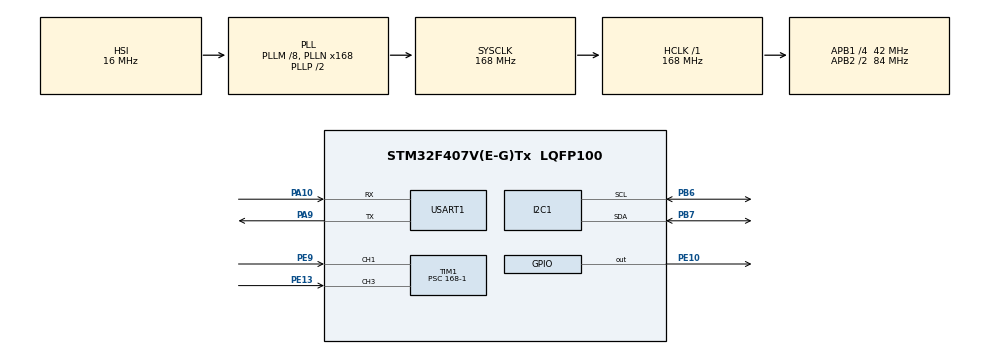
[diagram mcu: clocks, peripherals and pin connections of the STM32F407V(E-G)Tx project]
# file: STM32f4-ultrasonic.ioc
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Mcu.Family=STM32F4
Mcu.Name=STM32F407V(E-G)Tx
Mcu.Package=LQFP100
NVIC.PriorityGroup=NVIC_PRIORITYGROUP_4
NVIC.TIM1_CC_IRQn=true\:0\:0\:false\:false\:true\:true\:true
PA10.Mode=Asynchronous
PA10.Signal=USART1_RX
PA13.Mode=Serial_Wire
PA13.Signal=SYS_JTMS-SWDIO
PA14.Mode=Serial_Wire
PA14.Signal=SYS_JTCK-SWCLK
PA9.Mode=Asynchronous
PA9.Signal=USART1_TX
PB6.Mode=I2C
PB6.Signal=I2C1_SCL
PB7.Mode=I2C
PB7.Signal=I2C1_SDA
PC14-OSC32_IN.Mode=LSE-External-Oscillator
PC14-OSC32_IN.Signal=RCC_OSC32_IN
PC15-OSC32_OUT.Mode=LSE-External-Oscillator
PC15-OSC32_OUT.Signal=RCC_OSC32_OUT
PE10.Signal=GPIO_Output
PE13.Signal=S_TIM1_CH3
PE9.Signal=S_TIM1_CH1
PH0-OSC_IN.Mode=HSE-External-Oscillator
PH0-OSC_IN.Signal=RCC_OSC_IN
PH1-OSC_OUT.Mode=HSE-External-Oscillator
PH1-OSC_OUT.Signal=RCC_OSC_OUT
ProjectManager.HeapSize=0x200
ProjectManager.StackSize=0x400
ProjectManager.TargetToolchain=STM32CubeIDE
RCC.48MHZClocksFreq_Value=84000000
RCC.AHBFreq_Value=168000000
RCC.APB1CLKDivider=RCC_HCLK_DIV4
RCC.APB1Freq_Value=42000000
RCC.APB1TimFreq_Value=84000000
RCC.APB2CLKDivider=RCC_HCLK_DIV2
RCC.APB2Freq_Value=84000000
RCC.APB2TimFreq_Value=168000000
RCC.CortexFreq_Value=168000000
RCC.HCLKFreq_Value=168000000
RCC.HSE_VALUE=8000000
RCC.HSI_VALUE=16000000
RCC.PLLM=8
RCC.PLLN=168
RCC.SYSCLKFreq_VALUE=168000000
RCC.SYSCLKSource=RCC_SYSCLKSOURCE_PLLCLK
RCC.VCOOutputFreq_Value=336000000
SH.S_TIM1_CH1.0=TIM1_CH1,Input_Capture1_from_TI1
SH.S_TIM1_CH1.1=TIM1_CH1,Input_Capture2_from_TI1
SH.S_TIM1_CH3.0=TIM1_CH3,Input_Capture3_from_TI3
SH.S_TIM1_CH3.1=TIM1_CH3,Input_Capture4_from_TI3
TIM1.Channel-Input_Capture1_from_TI1=TIM_CHANNEL_1
TIM1.Channel-Input_Capture2_from_TI1=TIM_CHANNEL_2
TIM1.Channel-Input_Capture3_from_TI3=TIM_CHANNEL_3
TIM1.Channel-Input_Capture4_from_TI3=TIM_CHANNEL_4
TIM1.ICPolarity_CH2=TIM_INPUTCHANNELPOLARITY_FALLING
TIM1.Period=0xffff
TIM1.Prescaler=168-1
USART1.VirtualMode=VM_ASYNC
board=custom

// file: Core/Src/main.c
/* USER CODE BEGIN Header */
/**
  ******************************************************************************
  * @file           : main.c
  * @brief          : Main program body
  ******************************************************************************
  * @attention
  *
  * <h2><center>&copy; Copyright (c) 2021 STMicroelectronics.
  * All rights reserved.</center></h2>
  *
  * This software component is licensed by ST under BSD 3-Clause license,
  * the "License"; You may not use this file except in compliance with the
  * License. You may obtain a copy of the License at:
  *                        opensource.org/licenses/BSD-3-Clause
  *
  ******************************************************************************
  */
/* USER CODE END Header */

#include "main.h"

/* USER CODE BEGIN Includes */
#include <stdio.h>
/* USER CODE END Includes */

I2C_HandleTypeDef hi2c1;

TIM_HandleTypeDef htim1;

UART_HandleTypeDef huart1;

void SystemClock_Config(void);
static void MX_GPIO_Init(void);
static void MX_TIM1_Init(void);
static void MX_I2C1_Init(void);
static void MX_USART1_UART_Init(void);

/* USER CODE BEGIN 0 */
void delay (uint16_t time)
{
	__HAL_TIM_SET_COUNTER(&htim1, 0);
	while (__HAL_TIM_GET_COUNTER (&htim1) < time);
}

uint32_t Val1 = 0, Val2 = 0, Difference1 = 0;
uint32_t val3 = 0, val4 = 0, Difference2 = 0;
uint16_t strSize = 0;
uint8_t Is_First_Captured = 0, Distance1  = 0, Distance2 = 0, buffer[200];

#define TRIG_PIN GPIO_PIN_10
#define TRIG_PORT GPIOE

void HAL_TIM_IC_CaptureCallback(TIM_HandleTypeDef *htim)
{
	if (htim->Channel == HAL_TIM_ACTIVE_CHANNEL_1)
	{
		Val1 = __HAL_TIM_GET_COMPARE(htim, TIM_CHANNEL_1);
	}

	if(htim->Channel == HAL_TIM_ACTIVE_CHANNEL_2){
		Val2 = __HAL_TIM_GET_COMPARE(htim, TIM_CHANNEL_2);
	}

	if(htim->Channel == HAL_TIM_ACTIVE_CHANNEL_3){
		val3 = __HAL_TIM_GET_COMPARE(htim, TIM_CHANNEL_3);
	}

	if(htim->Channel == HAL_TIM_ACTIVE_CHANNEL_4){
		val4 = __HAL_TIM_GET_COMPARE(htim, TIM_CHANNEL_4);
	}
	if(Val2 > Val1){
		Difference1 = Val2 - Val1;
		Val2 = 0;
		Val1 = 0;
		Distance1 = Difference1 * .034/2;
	} else if(val4 > val3){
		Difference2 = val4 - val3;
		val3 = 0;
		val4 = 0;
		Distance2 = Difference2 * .034/2;
	}
}

void HCSR04_Read (void)
{
	HAL_GPIO_WritePin(TRIG_PORT, TRIG_PIN, GPIO_PIN_SET);
	delay(10);
	HAL_GPIO_WritePin(TRIG_PORT, TRIG_PIN, GPIO_PIN_RESET);
}
/* USER CODE END 0 */

int main(void)
{

  /* MCU Configuration--------------------------------------------------------*/

  /* Reset of all peripherals, Initializes the Flash interface and the Systick. */
  HAL_Init();

  /* Configure the system clock */
  SystemClock_Config();

  /* Initialize all configured peripherals */
  MX_GPIO_Init();
  MX_TIM1_Init();
  MX_I2C1_Init();
  MX_USART1_UART_Init();
  /* USER CODE BEGIN 2 */
  HAL_TIM_IC_Start_IT(&htim1, TIM_CHANNEL_1);
  HAL_TIM_IC_Start_IT(&htim1, TIM_CHANNEL_2);
  HAL_TIM_IC_Start_IT(&htim1, TIM_CHANNEL_3);
  HAL_TIM_IC_Start_IT(&htim1, TIM_CHANNEL_4);
  /* USER CODE END 2 */

  /* Infinite loop */
  while (1)
  {

    /* USER CODE BEGIN 3 */
	  strSize = sprintf((char*)buffer, "BISSMILLAH ULTRASONIC\r\n");
	  HAL_UART_Transmit_IT(&huart1, buffer, strSize);
	  HCSR04_Read();
	  strSize = sprintf((char*)buffer, "Distance1: %f || Distance2: %f\r\n", (float)Distance1, (float)Distance2);
	  HAL_UART_Transmit_IT(&huart1, buffer, strSize);
	  HAL_Delay(200);
  }
  /* USER CODE END 3 */
}

void SystemClock_Config(void)
{
  RCC_OscInitTypeDef RCC_OscInitStruct = {0};
  RCC_ClkInitTypeDef RCC_ClkInitStruct = {0};

  /** Configure the main internal regulator output voltage
  */
  __HAL_RCC_PWR_CLK_ENABLE();
  __HAL_PWR_VOLTAGESCALING_CONFIG(PWR_REGULATOR_VOLTAGE_SCALE1);
  /** Initializes the CPU, AHB and APB busses clocks
  */
  RCC_OscInitStruct.OscillatorType = RCC_OSCILLATORTYPE_HSI;
  RCC_OscInitStruct.HSIState = RCC_HSI_ON;
  RCC_OscInitStruct.HSICalibrationValue = RCC_HSICALIBRATION_DEFAULT;
  RCC_OscInitStruct.PLL.PLLState = RCC_PLL_ON;
  RCC_OscInitStruct.PLL.PLLSource = RCC_PLLSOURCE_HSI;
  RCC_OscInitStruct.PLL.PLLM = 8;
  RCC_OscInitStruct.PLL.PLLN = 168;
  RCC_OscInitStruct.PLL.PLLP = RCC_PLLP_DIV2;
  RCC_OscInitStruct.PLL.PLLQ = 4;
  if (HAL_RCC_OscConfig(&RCC_OscInitStruct) != HAL_OK)
  {
    Error_Handler();
  }
  /** Initializes the CPU, AHB and APB busses clocks
  */
  RCC_ClkInitStruct.ClockType = RCC_CLOCKTYPE_HCLK|RCC_CLOCKTYPE_SYSCLK
                              |RCC_CLOCKTYPE_PCLK1|RCC_CLOCKTYPE_PCLK2;
  RCC_ClkInitStruct.SYSCLKSource = RCC_SYSCLKSOURCE_PLLCLK;
  RCC_ClkInitStruct.AHBCLKDivider = RCC_SYSCLK_DIV1;
  RCC_ClkInitStruct.APB1CLKDivider = RCC_HCLK_DIV4;
  RCC_ClkInitStruct.APB2CLKDivider = RCC_HCLK_DIV2;

  if (HAL_RCC_ClockConfig(&RCC_ClkInitStruct, FLASH_LATENCY_5) != HAL_OK)
  {
    Error_Handler();
  }
}

static void MX_I2C1_Init(void)
{

  hi2c1.Instance = I2C1;
  hi2c1.Init.ClockSpeed = 100000;
  hi2c1.Init.DutyCycle = I2C_DUTYCYCLE_2;
  hi2c1.Init.OwnAddress1 = 0;
  hi2c1.Init.AddressingMode = I2C_ADDRESSINGMODE_7BIT;
  hi2c1.Init.DualAddressMode = I2C_DUALADDRESS_DISABLE;
  hi2c1.Init.OwnAddress2 = 0;
  hi2c1.Init.GeneralCallMode = I2C_GENERALCALL_DISABLE;
  hi2c1.Init.NoStretchMode = I2C_NOSTRETCH_DISABLE;
  if (HAL_I2C_Init(&hi2c1) != HAL_OK)
  {
    Error_Handler();
  }

}

static void MX_TIM1_Init(void)
{

  TIM_MasterConfigTypeDef sMasterConfig = {0};
  TIM_IC_InitTypeDef sConfigIC = {0};

  htim1.Instance = TIM1;
  htim1.Init.Prescaler = 168-1;
  htim1.Init.CounterMode = TIM_COUNTERMODE_UP;
  htim1.Init.Period = 0xffff;
  htim1.Init.ClockDivision = TIM_CLOCKDIVISION_DIV1;
  htim1.Init.RepetitionCounter = 0;
  htim1.Init.AutoReloadPreload = TIM_AUTORELOAD_PRELOAD_DISABLE;
  if (HAL_TIM_IC_Init(&htim1) != HAL_OK)
  {
    Error_Handler();
  }
  sMasterConfig.MasterOutputTrigger = TIM_TRGO_RESET;
  sMasterConfig.MasterSlaveMode = TIM_MASTERSLAVEMODE_DISABLE;
  if (HAL_TIMEx_MasterConfigSynchronization(&htim1, &sMasterConfig) != HAL_OK)
  {
    Error_Handler();
  }
  sConfigIC.ICPolarity = TIM_INPUTCHANNELPOLARITY_RISING;
  sConfigIC.ICSelection = TIM_ICSELECTION_DIRECTTI;
  sConfigIC.ICPrescaler = TIM_ICPSC_DIV1;
  sConfigIC.ICFilter = 0;
  if (HAL_TIM_IC_ConfigChannel(&htim1, &sConfigIC, TIM_CHANNEL_1) != HAL_OK)
  {
    Error_Handler();
  }
  sConfigIC.ICPolarity = TIM_INPUTCHANNELPOLARITY_FALLING;
  sConfigIC.ICSelection = TIM_ICSELECTION_INDIRECTTI;
  if (HAL_TIM_IC_ConfigChannel(&htim1, &sConfigIC, TIM_CHANNEL_2) != HAL_OK)
  {
    Error_Handler();
  }
  sConfigIC.ICPolarity = TIM_INPUTCHANNELPOLARITY_RISING;
  sConfigIC.ICSelection = TIM_ICSELECTION_DIRECTTI;
  if (HAL_TIM_IC_ConfigChannel(&htim1, &sConfigIC, TIM_CHANNEL_3) != HAL_OK)
  {
    Error_Handler();
  }
  sConfigIC.ICSelection = TIM_ICSELECTION_INDIRECTTI;
  if (HAL_TIM_IC_ConfigChannel(&htim1, &sConfigIC, TIM_CHANNEL_4) != HAL_OK)
  {
    Error_Handler();
  }

}

static void MX_USART1_UART_Init(void)
{

  huart1.Instance = USART1;
  huart1.Init.BaudRate = 115200;
  huart1.Init.WordLength = UART_WORDLENGTH_8B;
  huart1.Init.StopBits = UART_STOPBITS_1;
  huart1.Init.Parity = UART_PARITY_NONE;
  huart1.Init.Mode = UART_MODE_TX_RX;
  huart1.Init.HwFlowCtl = UART_HWCONTROL_NONE;
  huart1.Init.OverSampling = UART_OVERSAMPLING_16;
  if (HAL_UART_Init(&huart1) != HAL_OK)
  {
    Error_Handler();
  }

}

static void MX_GPIO_Init(void)
{
  GPIO_InitTypeDef GPIO_InitStruct = {0};

  /* GPIO Ports Clock Enable */
  __HAL_RCC_GPIOC_CLK_ENABLE();
  __HAL_RCC_GPIOH_CLK_ENABLE();
  __HAL_RCC_GPIOE_CLK_ENABLE();
  __HAL_RCC_GPIOA_CLK_ENABLE();
  __HAL_RCC_GPIOB_CLK_ENABLE();

  /*Configure GPIO pin Output Level */
  HAL_GPIO_WritePin(GPIOE, GPIO_PIN_10, GPIO_PIN_RESET);

  /*Configure GPIO pin : PE10 */
  GPIO_InitStruct.Pin = GPIO_PIN_10;
  GPIO_InitStruct.Mode = GPIO_MODE_OUTPUT_PP;
  GPIO_InitStruct.Pull = GPIO_NOPULL;
  GPIO_InitStruct.Speed = GPIO_SPEED_FREQ_LOW;
  HAL_GPIO_Init(GPIOE, &GPIO_InitStruct);

}

void Error_Handler(void)
{
}

/************************ (C) COPYRIGHT STMicroelectronics *****END OF FILE****/
